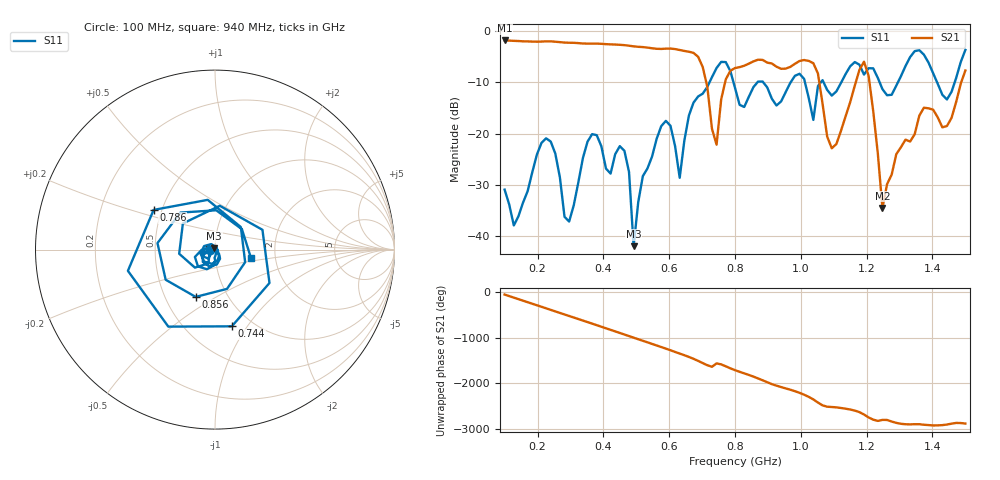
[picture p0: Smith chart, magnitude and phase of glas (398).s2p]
! NanoVNA-App
! Date: 2025-09-25 15:58:34
! Start: 100MHz Stop: 1,5GHz Points: 101
! S-Parameter data: F S11 S21 S12 S22
# Hz S RI R 50
!  Frequency  S11_Real  S11_Imag  S21_Real  S21_Imag  S12_Real  S12_Imag  S22_Real  S22_Imag
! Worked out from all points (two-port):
!   101 points, 100 MHz to 1.5 GHz, reference 50 ohm
!   highest |S21| = -1.80 dB at 100 MHz (marker M1); lowest = -34.5 dB at 1.248 GHz (marker M2)
!   |S21| within 3 dB of the highest: start of sweep to 684.5 MHz
!   lowest |S11| = -42.0 dB at 492 MHz (marker M3), VSWR 1.02, Z = 49.5 + j0.619 ohm
!   |S11| at or under -10 dB: start of sweep to 722.4 MHz; 795.5 MHz to 867.9 MHz (72.45 MHz wide, 8.71 % of centre); 886.1 MHz to 968.9 MHz (82.8 MHz wide, 8.93 % of centre) (the widest 3 of 7)
!   S12 and S22 are empty: the file has one direction only
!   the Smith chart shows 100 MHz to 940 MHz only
!   S11 on the Smith chart (normalised r, x): 100 MHz: 0.95, -0.01; 744 MHz: 0.81, -0.85; 786 MHz: 0.45, +0.24; 856 MHz: 0.71, -0.41; 940 MHz: 1.49, -0.15
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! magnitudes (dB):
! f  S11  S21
! 100 MHz  -30.9  -1.8
! 128 MHz  -37.9  -1.9
! 226 MHz  -20.9  -2.0
! 296 MHz  -37.2  -2.2
! 338 MHz  -24.7  -2.4
! 464 MHz  -23.4  -2.7
! 492 MHz  -42.0  -3.0
! 576 MHz  -18.5  -3.5
! 632 MHz  -28.6  -3.7
! 702 MHz  -12.2  -7.0
! 744 MHz  -7.2  -22.2
! 786 MHz  -7.8  -7.7
! 800 MHz  -11.1  -7.2
! 856 MHz  -10.9  -5.9
! 940 MHz  -13.7  -7.3
! 1.038 GHz  -17.3  -6.2
! 1.094 GHz  -12.6  -22.9
! 1.192 GHz  -8.5  -6.0
! 1.248 GHz  -11.3  -34.5
! 1.276 GHz  -12.4  -28.0
! 1.444 GHz  -13.3  -18.5
! 1.5 GHz  -3.6  -7.7
